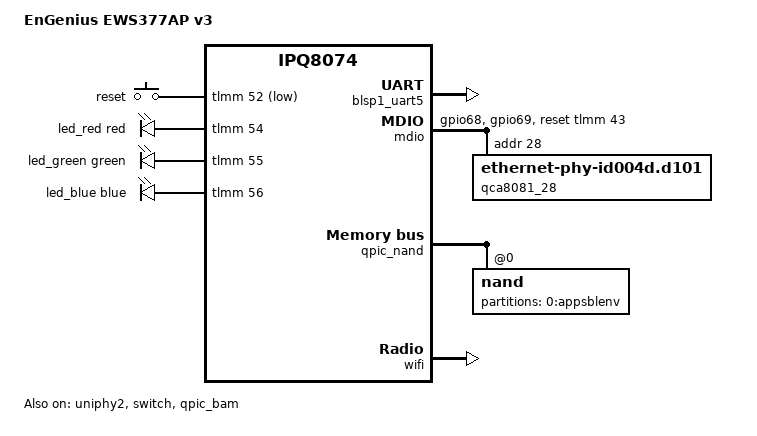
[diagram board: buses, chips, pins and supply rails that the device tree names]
// SPDX-License-Identifier: GPL-2.0-or-later OR BSD-2-Clause

/dts-v1/;

#include "ipq8074.dtsi"
#include "ipq8074-hk-cpu.dtsi"
#include "ipq8074-ess.dtsi"

#include <dt-bindings/gpio/gpio.h>
#include <dt-bindings/input/input.h>
#include <dt-bindings/leds/common.h>

/ {
	model = "EnGenius EWS377AP v3";
	compatible = "engenius,ews377ap-v3", "qcom,ipq8074";

	aliases {
		serial0 = &blsp1_uart5;
		led-boot = &led_blue;
		led-failsafe = &led_red;
		led-running = &led_blue;
		led-upgrade = &led_green;
	};

	chosen {
		stdout-path = "serial0:115200n8";
		/*
		 * The OEM U-Boot only passes "ubi.mtd=rootfs", which does not
		 * create a UBI block device, so add it here.
		 */
		bootargs-append = " ubi.block=0,rootfs root=/dev/ubiblock0_1";
	};

	keys {
		compatible = "gpio-keys";

		reset {
			label = "reset";
			gpios = <&tlmm 52 GPIO_ACTIVE_LOW>;
			linux,code = <KEY_RESTART>;
		};
	};

	leds {
		compatible = "gpio-leds";

		led_red: led-red {
			function = LED_FUNCTION_STATUS;
			color = <LED_COLOR_ID_RED>;
			gpios = <&tlmm 54 GPIO_ACTIVE_HIGH>;
		};

		led_green: led-green {
			function = LED_FUNCTION_STATUS;
			color = <LED_COLOR_ID_GREEN>;
			gpios = <&tlmm 55 GPIO_ACTIVE_HIGH>;
		};

		led_blue: led-blue {
			function = LED_FUNCTION_STATUS;
			color = <LED_COLOR_ID_BLUE>;
			gpios = <&tlmm 56 GPIO_ACTIVE_HIGH>;
		};
	};
};

&blsp1_uart5 {
	status = "okay";
};

&tlmm {
	mdio_pins: mdio-pins {
		mdc {
			pins = "gpio68";
			function = "mdc";
			drive-strength = <8>;
			bias-pull-up;
		};

		mdio {
			pins = "gpio69";
			function = "mdio";
			drive-strength = <8>;
			bias-pull-up;
		};
	};
};

&mdio {
	status = "okay";

	pinctrl-0 = <&mdio_pins>;
	pinctrl-names = "default";
	reset-gpios = <&tlmm 43 GPIO_ACTIVE_HIGH>;

	qca8081_28: ethernet-phy@28 {
		compatible = "ethernet-phy-id004d.d101";
		reg = <28>;
	};
};

&uniphy2 {
	status = "okay";
};

&switch {
	status = "okay";

	ports {
		#address-cells = <1>;
		#size-cells = <0>;

		port@0 {
			reg = <0>;
			ethernet = <&edma>;
			phy-mode = "internal";

			fixed-link {
				speed = <1000>;
				full-duplex;
			};
		};

		swport6: port@6 {
			reg = <6>;
			label = "lan";
			phy-handle = <&qca8081_28>;
			phy-mode = "2500base-x";
			pcs-handle = <&uniphy2 0>;
			nvmem-cells = <&macaddr_ubootenv_ethaddr>;
			nvmem-cell-names = "mac-address";
		};
	};
};

&edma {
	status = "okay";
};

&qpic_bam {
	status = "okay";
};

&qpic_nand {
	status = "okay";

	nand@0 {
		reg = <0>;
		nand-ecc-strength = <4>;
		nand-ecc-step-size = <512>;
		nand-bus-width = <8>;

		partitions {
			compatible = "qcom,smem-part";

			partition-0-appsblenv {
				label = "0:appsblenv";
				read-only;

				nvmem-layout {
					compatible = "u-boot,env";
					env-size = <0x40000>;

					macaddr_ubootenv_ethaddr: ethaddr {
					};
				};
			};
		};
	};
};

&wifi {
	status = "okay";

	qcom,ath11k-fw-memory-mode = <1>;
};
